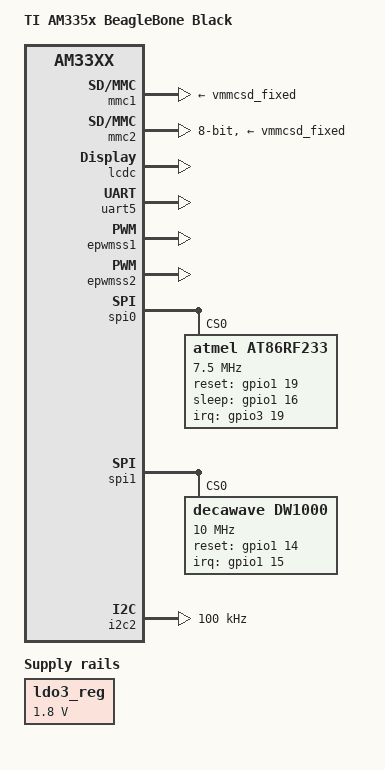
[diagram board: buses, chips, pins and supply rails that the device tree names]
/*
 * Copyright (C) 2012 Texas Instruments Incorporated - http://www.ti.com/
 *
 * This program is free software; you can redistribute it and/or modify
 * it under the terms of the GNU General Public License version 2 as
 * published by the Free Software Foundation.
 */
/dts-v1/;

#include "am33xx.dtsi"
#include "am335x-bone-common.dtsi"

/ {
	model = "TI AM335x BeagleBone Black";
	compatible = "ti,am335x-bone-black", "ti,am335x-bone", "ti,am33xx";
};

&ldo3_reg {
	regulator-min-microvolt = <1800000>;
	regulator-max-microvolt = <1800000>;
	regulator-always-on;
};

&mmc1 {
	vmmc-supply = <&vmmcsd_fixed>;
};

&mmc2 {
	vmmc-supply = <&vmmcsd_fixed>;
	pinctrl-names = "default";
	pinctrl-0 = <&emmc_pins>;
	bus-width = <8>;
	status = "okay";
};

&am33xx_pinmux {

	/* For a uart device */
	uart5_pins: pinmux_uart5_pins {
    	pinctrl-single,pins = <
    		0xC4 0x24 		/* P8.38 uart5_rxd MODE6 INPUT (RX)  */
    		0xC0 0x04 		/* P8.37 uart5_txd MODE6 OUTPUT (TX) */
    	>;
	};

	/* For SPI0 device */
	spi0_pins_s0: spi0_pins_s0 {
	    	pinctrl-single,pins = <
			0x040 0x17      /* SLPTR P9.15 O_PULLUP | MODE7-GPIO1[16] */
			0x04c 0x17      /* RSTN  P9.16 O_PULLUP | MODE7-GPIO1[19] */
			0x1a4 0x37      /* IRQ   P9.27 I_PULLUP | MODE7-GPIO3[19] */
			0x150 0x30      /* CLK   P9.22 spi0_sclk, I_PULLUP | MODE0 */
			0x154 0x10      /* D0    P9.21 MOSI spi0_d0, O_PULLUP | MODE0 */
			0x158 0x30      /* D1    P9.18 MISO spi0_d1, I_PULLUP | MODE0 */
			0x15c 0x10      /* SS    P9.17 spi0_cs0, O_PULLUP | MODE0 */
	   	 >;
	};

	/* For SPI1 device */
	spi1_pins_s0: spi1_pins_s0 {
        pinctrl-single,pins = <
         	0x038 0x17  	/* RESET P8.16 O_PULLUP | MODE7-GPIO1[14] */
          	0x03c 0x37  	/* IRQ P8.15 I_PULLUP | MODE7-GPIO1[15] */
            0x190 0x33      /* P9.31 CLK INPUT_PULLUP | MODE3 */
            0x194 0x33      /* P9.29 MISO INPUT_PULLUP | MODE3 */
            0x198 0x13      /* P9.30 MOSI OUTPUT_PULLUP | MODE3 */
            0x19c 0x13      /* P9.28 CS0  OUTPUT_PULLUP | MODE3 */
		>;
	};

	/* For an i2c device */
    bb_i2c2_pins: pinmux_bb_i2c2_pins {
	   	pinctrl-single,pins = <
			0x178 0x73      /* I2C2_SDA, SLEWCTRL_SLOW | INPUT_PULLUP | MODE3 */
			0x17c 0x73      /* I2C2_SCL, SLEWCTRL_SLOW | INPUT_PULLUP | MODE3 */	
	   	>;
	};

	/* Timer configuration */
	timer_pins: pinmux_timer_pins {
	   	pinctrl-single,pins = <
			0x90  0x22 		/* P8.7   MODE2 TIMER4 - 24MHz CAPTURE   */
			0x98  0x02 		/* P8.10  MODE2 TIMER5 - 24MHz INTERRUPT */
			0x9C  0x22 		/* P8.9   MODE2 TIMER6 - TCLKIN CAPTURE  */
			0x94  0x02 		/* P8.8   MODE2 TIMER7 - TCLKIN INTERRUPT */
			0x1b4 0x2A 		/* P9.41A MODE2 TIMER4 TCLKIN */
			0x1a8 0x0F 		/* P9.41B MODE7 TIMER4 INPUT (high-Z, tied to P9.41A) - conflicts with HDMI */
    	>;
	};

	/* PWMSS configuration */
	epwmss1_pins: pinmux_epwmss1_pins {
	   	pinctrl-single,pins = <
			0x0c8 0x02		/* P8_36 = EHRPWM1A, MODE2 */ 
			0x0cc 0x02      /* P8_34 = EHRPWM1B, MODE2 */
            0x0D8 0x22  	/* P8_31 = GPIO0_10 = EQEP1_index, MODE2 */
            0x0DC 0x22  	/* P8_32 = GPIO0_11 = EQEP1_strobe, MODE2 */
            0x0D4 0x32  	/* P8_33 = GPIO0_9 = EQEP1B_in, MODE2 */
            0x0D0 0x32  	/* P8_35 = GPIO0_8 = EQEP1A_in, MODE2 */
    	>;
	};
	epwmss2_pins: pinmux_epwmss2_pins {
	   	pinctrl-single,pins = <
			0x024 0x04		/* P8_13 = EHRPWM2A, MODE4 */ 
			0x020 0x04      /* P8_19 = EHRPWM2A, MODE4 */
	   	    0x0B8 0x23  	/* P8_39 = GPIO2_12 = EQEP2_index, MODE3 */
            0x0BC 0x23  	/* P8_40 = GPIO2_13 = EQEP2_strobe, MODE3 */
            0x0B0 0x33  	/* P8_41 = GPIO2_10 = EQEP2A_in, MODE3 */
            0x0B4 0x33  	/* P8_42 = GPIO2_11 = EQEP2B_in, MODE3 */
    	>;
	};
};

&lcdc {
	status = "okay";
};

&rtc {
	system-power-controller;
};

&uart5 {
    status = "okay";
    pinctrl-names = "default";
    pinctrl-0 = <&uart5_pins>;
};

&epwmss1 {
	status = "okay";
	pinctrl-0 = <&epwmss1_pins>;
	ehrpwm1: ehrpwm@48302200 {
		#pwm-cells = <3>;
		compatible = "ti,am33xx-ehrpwm";
		reg = <0x48302200 0x80>;
		ti,hwmods = "ehrpwm1";
		status = "okay";
	};
	eqep1: eqep@0x48302180 {
		compatible = "ti,am33xx-eqep";
		reg = <0x48302180 0x80>;
		interrupt-parent = <&intc>;
		interrupts = <88>;
		ti,hwmods = "eqep1";
		status = "okay";
	};
};

&epwmss2 {
	status = "okay";
	pinctrl-0 = <&epwmss2_pins>;
	ehrpwm2: ehrpwm@48304200 {
		#pwm-cells = <3>;
		compatible = "ti,am33xx-ehrpwm";
		reg = <0x48304200 0x80>;
		ti,hwmods = "ehrpwm2";
		status = "okay";
	};
	eqep2: eqep@0x48304180 {
		compatible = "ti,am33xx-eqep";
		reg = <0x48304180 0x80>;
		interrupt-parent = <&intc>;
		interrupts = <89>;
		ti,hwmods = "eqep2";
		status = "okay";
	};
};

&spi0 {
	#address-cells = <1>;
	#size-cells = <0>;
	status = "okay";
	pinctrl-names = "default";
	pinctrl-0 = <&spi0_pins_s0>;
	ti,pindir-d0-out-d1-in = <1>;
	at86rf233@0 {
		spi-max-frequency = <7500000>;
		reg = <0>;
		compatible = "atmel,at86rf233";
		interrupts = <19 1>;
		interrupt-parent = <&gpio3>;
		reset-gpio = <&gpio1 19 0>;
		sleep-gpio = <&gpio1 16 0>;
	};
};

&spi1 {
	#address-cells = <1>;
	#size-cells = <0>;
	status = "okay";
	pinctrl-names = "default";
	pinctrl-0 = <&spi1_pins_s0>;
	dw1000@1 {
		spi-max-frequency = <10000000>;
		reg = <0>;
		compatible = "decawave,dw1000";
		interrupts = <15 2>;
		interrupt-parent = <&gpio1>;
		reset-gpio = <&gpio1 14 0>;
	};
};

&i2c2 {
	#address-cells = <1>;
	#size-cells = <0>;
	status = "okay";
	pinctrl-names = "default";
	pinctrl-0 = <&bb_i2c2_pins>;
	clock-frequency = <100000>;
};
